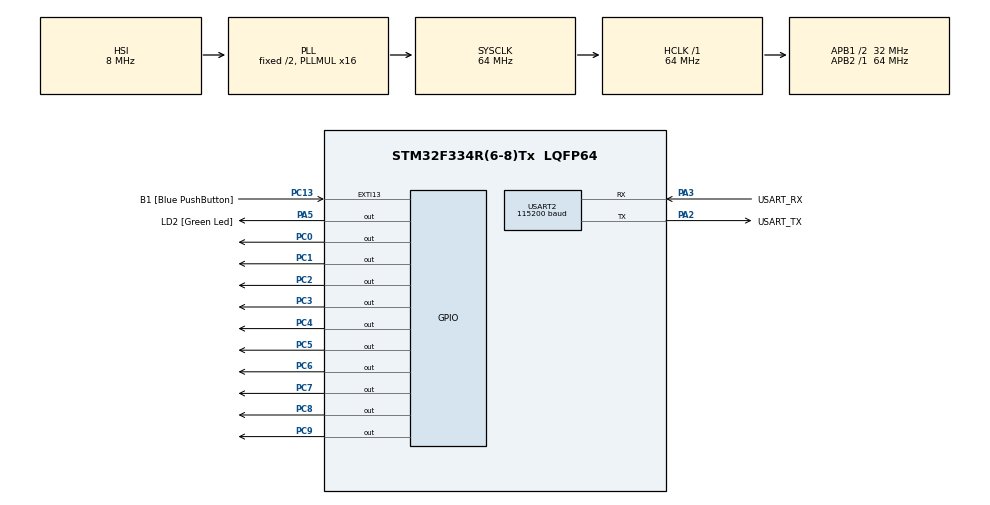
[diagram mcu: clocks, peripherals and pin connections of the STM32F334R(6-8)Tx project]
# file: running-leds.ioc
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Mcu.Family=STM32F3
Mcu.Name=STM32F334R(6-8)Tx
Mcu.Package=LQFP64
NVIC.EXTI15_10_IRQn=true\:0\:0\:false\:false\:true\:true\:true
NVIC.PriorityGroup=NVIC_PRIORITYGROUP_0
NVIC.TIM6_DAC1_IRQn=true\:0\:0\:false\:false\:true\:true\:true
PA13.GPIO_Label=TMS
PA13.Mode=Serial_Wire
PA13.Signal=SYS_JTMS-SWDIO
PA14.GPIO_Label=TCK
PA14.Mode=Serial_Wire
PA14.Signal=SYS_JTCK-SWCLK
PA2.GPIO_Label=USART_TX
PA2.GPIO_PuPd=GPIO_PULLUP
PA2.Mode=Asynchronous
PA2.Signal=USART2_TX
PA3.GPIO_Label=USART_RX
PA3.GPIO_PuPd=GPIO_PULLUP
PA3.Mode=Asynchronous
PA3.Signal=USART2_RX
PA5.GPIO_Label=LD2 [Green Led]
PA5.Signal=GPIO_Output
PB3.GPIO_Label=SWO
PB3.Signal=SYS_JTDO-TRACESWO
PC0.Signal=GPIO_Output
PC1.Signal=GPIO_Output
PC13.GPIO_Label=B1 [Blue PushButton]
PC13.GPIO_ModeDefaultEXTI=GPIO_MODE_IT_FALLING
PC13.Signal=GPXTI13
PC14\ /\ OSC32_IN.Mode=LSE-External-Oscillator
PC14\ /\ OSC32_IN.Signal=RCC_OSC32_IN
PC15\ /\ OSC32_OUT.GPIO_Label=RCC_OSC32_OUT
PC15\ /\ OSC32_OUT.Mode=LSE-External-Oscillator
PC15\ /\ OSC32_OUT.Signal=RCC_OSC32_OUT
PC2.Signal=GPIO_Output
PC3.Signal=GPIO_Output
PC4.Signal=GPIO_Output
PC5.Signal=GPIO_Output
PC6.Signal=GPIO_Output
PC7.Signal=GPIO_Output
PC8.Signal=GPIO_Output
PC9.Signal=GPIO_Output
PF0\ /\ OSC_IN.Mode=HSE-External-Clock-Source
PF0\ /\ OSC_IN.Signal=RCC_OSC_IN
PF1\ /\ OSC_OUT.Signal=RCC_OSC_OUT
ProjectManager.HeapSize=0x200
ProjectManager.StackSize=0x400
ProjectManager.TargetToolchain=STM32CubeIDE
RCC.AHBFreq_Value=64000000
RCC.APB1CLKDivider=RCC_HCLK_DIV2
RCC.APB1Freq_Value=32000000
RCC.APB1TimFreq_Value=64000000
RCC.APB2Freq_Value=64000000
RCC.APB2TimFreq_Value=64000000
RCC.CortexFreq_Value=64000000
RCC.FLatency-AdvancedSettings=FLASH_LATENCY_2
RCC.HCLKFreq_Value=64000000
RCC.HSE_VALUE=8000000
RCC.HSI_VALUE=8000000
RCC.PLLMUL=RCC_PLL_MUL16
RCC.SYSCLKFreq_VALUE=64000000
RCC.SYSCLKSourceVirtual=RCC_SYSCLKSOURCE_PLLCLK
TIM6.AutoReloadPreload=TIM_AUTORELOAD_PRELOAD_ENABLE
TIM6.Period=500
TIM6.Prescaler=64000
USART2.BaudRate=115200
USART2.Parity=PARITY_NONE
USART2.VirtualMode-Asynchronous=VM_ASYNC
VP_TIM6_VS_ClockSourceINT.Mode=Enable_Timer
board=NUCLEO-F334R8

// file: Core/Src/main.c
/* USER CODE BEGIN Header */
/**
 ******************************************************************************
 * @file           : main.c
 * @brief          : Main program body
 ******************************************************************************
 * @attention
 *
 * <h2><center>&copy; Copyright (c) 2020 STMicroelectronics.
 * All rights reserved.</center></h2>
 *
 * This software component is licensed by ST under BSD 3-Clause license,
 * the "License"; You may not use this file except in compliance with the
 * License. You may obtain a copy of the License at:
 *                        opensource.org/licenses/BSD-3-Clause
 *
 ******************************************************************************
 */
/* USER CODE END Header */

#include "main.h"

/* USER CODE BEGIN Includes */
#include "stdio.h"
#include "string.h"
/* USER CODE END Includes */

/* USER CODE BEGIN PD */
#define WELCOME_MSG "\r\nPress + or - to change led on time!\n"
#define PROMPT "\r\n?: "
#define DEFAULT_LED_ON_TIME_MS 500
#define MAX_LED_ON_TIME_MS 500
#define MIN_LED_ON_TIME_MS 10
#define THRESHOLD_LED_ON_TIME_MS 100 // Threshold at which led increment changes
#define MIN_LED_ON_TIME_INCREMENT_MS 1
#define MAX_LED_ON_TIME_INCREMENT_MS 10

/* USER CODE END PD */

TIM_HandleTypeDef htim6;

UART_HandleTypeDef huart2;

/* USER CODE BEGIN PV */
int led_counter = 0;
int position_increment = 1;
char opt;
/* USER CODE END PV */

void SystemClock_Config(void);
static void MX_GPIO_Init(void);
static void MX_TIM6_Init(void);
static void MX_USART2_UART_Init(void);
/* USER CODE BEGIN PFP */
int _write(int file, char *ptr, int len);
void printWelcomeMessage(void);
char readUserInput(void);
uint8_t processUserInput(char opt);

/* USER CODE END PFP */

int main(void)
{

	/* MCU Configuration--------------------------------------------------------*/

	/* Reset of all peripherals, Initializes the Flash interface and the Systick. */
	HAL_Init();

	/* Configure the system clock */
	SystemClock_Config();

	/* Initialize all configured peripherals */
	MX_GPIO_Init();
	MX_TIM6_Init();
	MX_USART2_UART_Init();
	/* USER CODE BEGIN 2 */
	HAL_GPIO_WritePin(L0_GPIO_Port, L0_Pin, GPIO_PIN_SET);
	HAL_GPIO_WritePin(L1_GPIO_Port, L1_Pin, GPIO_PIN_SET);
	HAL_GPIO_WritePin(L2_GPIO_Port, L2_Pin, GPIO_PIN_SET);
	HAL_GPIO_WritePin(L3_GPIO_Port, L3_Pin, GPIO_PIN_SET);
	HAL_GPIO_WritePin(L4_GPIO_Port, L4_Pin, GPIO_PIN_SET);
	HAL_GPIO_WritePin(L5_GPIO_Port, L5_Pin, GPIO_PIN_SET);
	HAL_GPIO_WritePin(L6_GPIO_Port, L6_Pin, GPIO_PIN_SET);
	HAL_GPIO_WritePin(L7_GPIO_Port, L7_Pin, GPIO_PIN_SET);
	HAL_GPIO_WritePin(L8_GPIO_Port, L8_Pin, GPIO_PIN_SET);
	HAL_GPIO_WritePin(L9_GPIO_Port, L9_Pin, GPIO_PIN_SET);

	HAL_TIM_Base_Start_IT(&htim6);
	/* USER CODE END 2 */

	/* Infinite loop */
	/* USER CODE BEGIN WHILE */
	printWelcomeMessage();
	while (1)
	{
		/* USER CODE END WHILE */

		/* USER CODE BEGIN 3 */
		opt = readUserInput();
		processUserInput(opt);
	}
	/* USER CODE END 3 */
}
void SystemClock_Config(void)
{
	RCC_OscInitTypeDef RCC_OscInitStruct =
	{ 0 };
	RCC_ClkInitTypeDef RCC_ClkInitStruct =
	{ 0 };

	/** Initializes the CPU, AHB and APB busses clocks
	 */
	RCC_OscInitStruct.OscillatorType = RCC_OSCILLATORTYPE_HSI;
	RCC_OscInitStruct.HSIState = RCC_HSI_ON;
	RCC_OscInitStruct.HSICalibrationValue = RCC_HSICALIBRATION_DEFAULT;
	RCC_OscInitStruct.PLL.PLLState = RCC_PLL_ON;
	RCC_OscInitStruct.PLL.PLLSource = RCC_PLLSOURCE_HSI;
	RCC_OscInitStruct.PLL.PLLMUL = RCC_PLL_MUL16;
	if (HAL_RCC_OscConfig(&RCC_OscInitStruct) != HAL_OK)
	{
		Error_Handler();
	}
	/** Initializes the CPU, AHB and APB busses clocks
	 */
	RCC_ClkInitStruct.ClockType = RCC_CLOCKTYPE_HCLK | RCC_CLOCKTYPE_SYSCLK
			| RCC_CLOCKTYPE_PCLK1 | RCC_CLOCKTYPE_PCLK2;
	RCC_ClkInitStruct.SYSCLKSource = RCC_SYSCLKSOURCE_PLLCLK;
	RCC_ClkInitStruct.AHBCLKDivider = RCC_SYSCLK_DIV1;
	RCC_ClkInitStruct.APB1CLKDivider = RCC_HCLK_DIV2;
	RCC_ClkInitStruct.APB2CLKDivider = RCC_HCLK_DIV1;

	if (HAL_RCC_ClockConfig(&RCC_ClkInitStruct, FLASH_LATENCY_2) != HAL_OK)
	{
		Error_Handler();
	}
}

static void MX_TIM6_Init(void)
{

	TIM_MasterConfigTypeDef sMasterConfig =
	{ 0 };

	htim6.Instance = TIM6;
	htim6.Init.Prescaler = 64000;
	htim6.Init.CounterMode = TIM_COUNTERMODE_UP;
	htim6.Init.Period = 500;
	htim6.Init.AutoReloadPreload = TIM_AUTORELOAD_PRELOAD_ENABLE;
	if (HAL_TIM_Base_Init(&htim6) != HAL_OK)
	{
		Error_Handler();
	}
	sMasterConfig.MasterOutputTrigger = TIM_TRGO_RESET;
	sMasterConfig.MasterSlaveMode = TIM_MASTERSLAVEMODE_DISABLE;
	if (HAL_TIMEx_MasterConfigSynchronization(&htim6, &sMasterConfig) != HAL_OK)
	{
		Error_Handler();
	}

}

static void MX_USART2_UART_Init(void)
{

	huart2.Instance = USART2;
	huart2.Init.BaudRate = 115200;
	huart2.Init.WordLength = UART_WORDLENGTH_8B;
	huart2.Init.StopBits = UART_STOPBITS_1;
	huart2.Init.Parity = UART_PARITY_NONE;
	huart2.Init.Mode = UART_MODE_TX_RX;
	huart2.Init.HwFlowCtl = UART_HWCONTROL_NONE;
	huart2.Init.OverSampling = UART_OVERSAMPLING_16;
	huart2.Init.OneBitSampling = UART_ONE_BIT_SAMPLE_DISABLE;
	huart2.AdvancedInit.AdvFeatureInit = UART_ADVFEATURE_NO_INIT;
	if (HAL_UART_Init(&huart2) != HAL_OK)
	{
		Error_Handler();
	}

}

static void MX_GPIO_Init(void)
{
	GPIO_InitTypeDef GPIO_InitStruct =
	{ 0 };

	/* GPIO Ports Clock Enable */
	__HAL_RCC_GPIOC_CLK_ENABLE();
	__HAL_RCC_GPIOF_CLK_ENABLE();
	__HAL_RCC_GPIOA_CLK_ENABLE();
	__HAL_RCC_GPIOB_CLK_ENABLE();

	/*Configure GPIO pin Output Level */
	HAL_GPIO_WritePin(GPIOC,
			GPIO_PIN_0 | GPIO_PIN_1 | GPIO_PIN_2 | GPIO_PIN_3 | GPIO_PIN_4
					| GPIO_PIN_5 | GPIO_PIN_6 | GPIO_PIN_7 | GPIO_PIN_8
					| GPIO_PIN_9, GPIO_PIN_RESET);

	/*Configure GPIO pin Output Level */
	HAL_GPIO_WritePin(LD2_GPIO_Port, LD2_Pin, GPIO_PIN_RESET);

	/*Configure GPIO pin : B1_Pin */
	GPIO_InitStruct.Pin = B1_Pin;
	GPIO_InitStruct.Mode = GPIO_MODE_IT_FALLING;
	GPIO_InitStruct.Pull = GPIO_NOPULL;
	HAL_GPIO_Init(B1_GPIO_Port, &GPIO_InitStruct);

	/*Configure GPIO pins : PC0 PC1 PC2 PC3
	 PC4 PC5 PC6 PC7
	 PC8 PC9 */
	GPIO_InitStruct.Pin = GPIO_PIN_0 | GPIO_PIN_1 | GPIO_PIN_2 | GPIO_PIN_3
			| GPIO_PIN_4 | GPIO_PIN_5 | GPIO_PIN_6 | GPIO_PIN_7 | GPIO_PIN_8
			| GPIO_PIN_9;
	GPIO_InitStruct.Mode = GPIO_MODE_OUTPUT_PP;
	GPIO_InitStruct.Pull = GPIO_NOPULL;
	GPIO_InitStruct.Speed = GPIO_SPEED_FREQ_LOW;
	HAL_GPIO_Init(GPIOC, &GPIO_InitStruct);

	/*Configure GPIO pin : LD2_Pin */
	GPIO_InitStruct.Pin = LD2_Pin;
	GPIO_InitStruct.Mode = GPIO_MODE_OUTPUT_PP;
	GPIO_InitStruct.Pull = GPIO_NOPULL;
	GPIO_InitStruct.Speed = GPIO_SPEED_FREQ_LOW;
	HAL_GPIO_Init(LD2_GPIO_Port, &GPIO_InitStruct);

	/* EXTI interrupt init*/
	HAL_NVIC_SetPriority(EXTI15_10_IRQn, 0, 0);
	HAL_NVIC_EnableIRQ(EXTI15_10_IRQn);

}

/* USER CODE BEGIN 4 */
void HAL_GPIO_EXTI_Callback(uint16_t GPIO_Pin)
{
	if (GPIO_Pin == B1_Pin)
	{
		HAL_GPIO_TogglePin(LD2_GPIO_Port, LD2_Pin);
		if (position_increment > 0)
		{
			position_increment = -1;
		}
		else
		{
			position_increment = 1;
		}
	}
	else
	{
		__NOP();
	}
}

/**
 * @brief Write Function for Puts and Printf
 * @param file
 * @param * ptr
 * @param len
 * @retval int
 */
int _write(int file, char *ptr, int len)
{
	/* Implement write code here, this is used by puts and printf for example */
	int i = 0;
	for (i = 0; i < len; i++)
	{
		ITM_SendChar((*ptr++));
	}
	return len;
}

/**
 * @brief Welcome Message and Instructions Printing Function
 * @param None
 * @retval None
 */
void printWelcomeMessage(void)
{
	HAL_UART_Transmit(&huart2, (uint8_t*) WELCOME_MSG, strlen(WELCOME_MSG),
	HAL_MAX_DELAY);
}

/**
 * @brief Single Character Read from UART2 Function
 * @param None
 * @retval char
 */
char readUserInput(void)
{
	char readBuf[25];
	HAL_UART_Transmit(&huart2, (uint8_t*) PROMPT, strlen(PROMPT),
	HAL_MAX_DELAY);
	HAL_UART_Receive(&huart2, (uint8_t*) readBuf, 1, HAL_MAX_DELAY);
	HAL_UART_Transmit(&huart2, (uint8_t*) readBuf, strlen(readBuf),
	HAL_MAX_DELAY);

	return readBuf[0];
}

/**
 * @brief Process Input and Update Led On Time Function
 * @param opt: input character
 * @retval uint8_t
 */
uint8_t processUserInput(char opt)
{
	char led_on_time[30];
	int increment;
	if (opt != '+' && opt != '-')
	{
		TIM6->ARR = DEFAULT_LED_ON_TIME_MS;
		snprintf(led_on_time, 30, "\r\nLed on time is %d ms.\n",
				(int) TIM6->ARR);
		HAL_UART_Transmit(&huart2, (uint8_t*) led_on_time, strlen(led_on_time),
		HAL_MAX_DELAY);
		return 0;
	}
	switch (opt)
	{
	case '+':
		if (TIM6->ARR >= THRESHOLD_LED_ON_TIME_MS)
		{
			increment = MAX_LED_ON_TIME_INCREMENT_MS;
		}
		else
		{
			increment = MIN_LED_ON_TIME_INCREMENT_MS;
		}
		TIM6->ARR += increment;
		if (TIM6->ARR > MAX_LED_ON_TIME_MS)
		{
			TIM6->ARR = MAX_LED_ON_TIME_MS;
		}
		snprintf(led_on_time, 30, "\r\nLed on time is %d ms.\n",
				(int) TIM6->ARR);
		HAL_UART_Transmit(&huart2, (uint8_t*) led_on_time, strlen(led_on_time),
		HAL_MAX_DELAY);
		break;
	case '-':
		if (TIM6->ARR < THRESHOLD_LED_ON_TIME_MS)
		{
			increment = MIN_LED_ON_TIME_INCREMENT_MS;
		}
		else
		{
			increment = MAX_LED_ON_TIME_INCREMENT_MS;
		}
		TIM6->ARR -= increment;
		if (TIM6->ARR < MIN_LED_ON_TIME_MS)
		{
			TIM6->ARR = MIN_LED_ON_TIME_MS;
		}
		snprintf(led_on_time, 30, "\r\nLed on time is %d ms.\n",
				(int) TIM6->ARR);
		HAL_UART_Transmit(&huart2, (uint8_t*) led_on_time, strlen(led_on_time),
		HAL_MAX_DELAY);
		break;
	}
	return 1;
}

/* USER CODE END 4 */

void Error_Handler(void)
{
}

/************************ (C) COPYRIGHT STMicroelectronics *****END OF FILE****/
